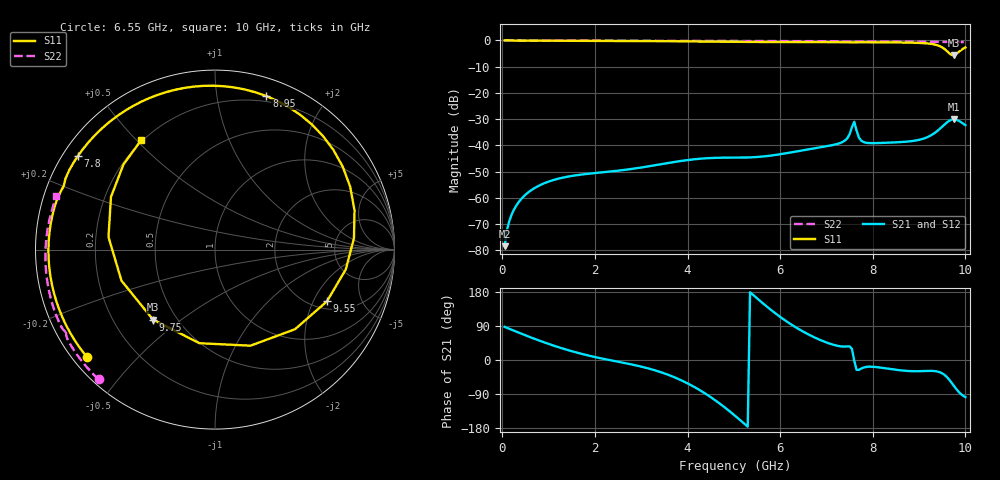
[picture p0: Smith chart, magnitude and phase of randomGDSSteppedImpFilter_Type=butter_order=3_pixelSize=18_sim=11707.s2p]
! freq	dB(S11)	phase(S11)	dB(S12)	phase(S12)
!  dB(S21)	phase(S21)	dB(S22)	phase(S22)
!S-par simulation data
#  GHz  S  DB  R 50
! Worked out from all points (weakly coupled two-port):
!   200 points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, 50 MHz to 10 GHz, reference 50 ohm
!   highest |S21| = -30.09 dB at 9.75 GHz (marker M1); lowest = -78.5 dB at 50 MHz (marker M2)
!   lowest |S11| = -5.7 dB at 9.75 GHz (marker M3), VSWR 3.17, Z = 18.6 - j19.9 ohm
!   |S11| at or under -10 dB: nowhere
!   |S22| runs from -0.6 to 0.0 dB; largest |S21 - S12| = 0
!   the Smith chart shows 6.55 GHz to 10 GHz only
!   S11 on the Smith chart (normalised r, x): 6.55 GHz: 0.04, -0.36; 7.8 GHz: 0.04, +0.31; 8.95 GHz: 0.15, +1.38; 9.55 GHz: 2.36, -2.57; 9.75 GHz: 0.37, -0.40; 10 GHz: 0.19, +0.51
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0.05  -0.00 -4.0  -78.49 87.4  -78.49 87.4  -0.00 -1.1
0.2  -0.02 -15.8  -66.52 79.8  -66.52 79.8  -0.01 -4.5
0.5  -0.05 -38.9  -58.87 65.1  -58.87 65.1  -0.01 -11.1
1.1  -0.10 -82.7  -53.27 38.3  -53.27 38.3  -0.03 -24.3
1.75  -0.14 -125.5  -51.08 15.1  -51.08 15.1  -0.05 -38.4
2.6  -0.18 -177.6  -49.48 -7.0  -49.48 -7.0  -0.07 -56.3
3.4  -0.26 130.2  -47.29 -31.2  -47.29 -31.2  -0.10 -72.6
4.2  -0.38 66.3  -45.24 -74.9  -45.24 -74.9  -0.12 -88.2
5.05  -0.54 -16.0  -44.71 -149.6  -44.71 -149.6  -0.16 -104.3
5.75  -0.59 -80.6  -44.04 137.2  -44.04 137.2  -0.20 -117.3
6.55  -0.62 -140.0  -41.74 71.4  -41.74 71.4  -0.25 -131.9
6.7  -0.62 -149.8  -41.29 62.0  -41.29 62.0  -0.26 -134.6
7.4  -0.67 168.2  -38.17 35.5  -38.17 35.5  -0.33 -147.6
7.6  -0.78 157.2  -31.04 -2.0  -31.04 -2.0  -0.57 -150.9
7.8  -0.68 145.7  -38.73 -20.1  -38.73 -20.1  -0.37 -154.3
8.35  -0.72 113.4  -38.99 -23.4  -38.99 -23.4  -0.41 -164.9
8.95  -0.90 71.5  -38.10 -29.6  -38.10 -29.6  -0.48 -176.7
9.3  -1.43 33.0  -35.74 -28.9  -35.74 -28.9  -0.52 176.3
9.55  -3.26 -24.7  -32.06 -39.4  -32.06 -39.4  -0.56 171.1
9.75  -5.66 -131.6  -30.09 -67.9  -30.09 -67.9  -0.58 166.9
9.85  -4.47 173.3  -30.59 -83.3  -30.59 -83.3  -0.60 164.7
10  -2.67 124.1  -32.32 -98.0  -32.32 -98.0  -0.62 161.4
